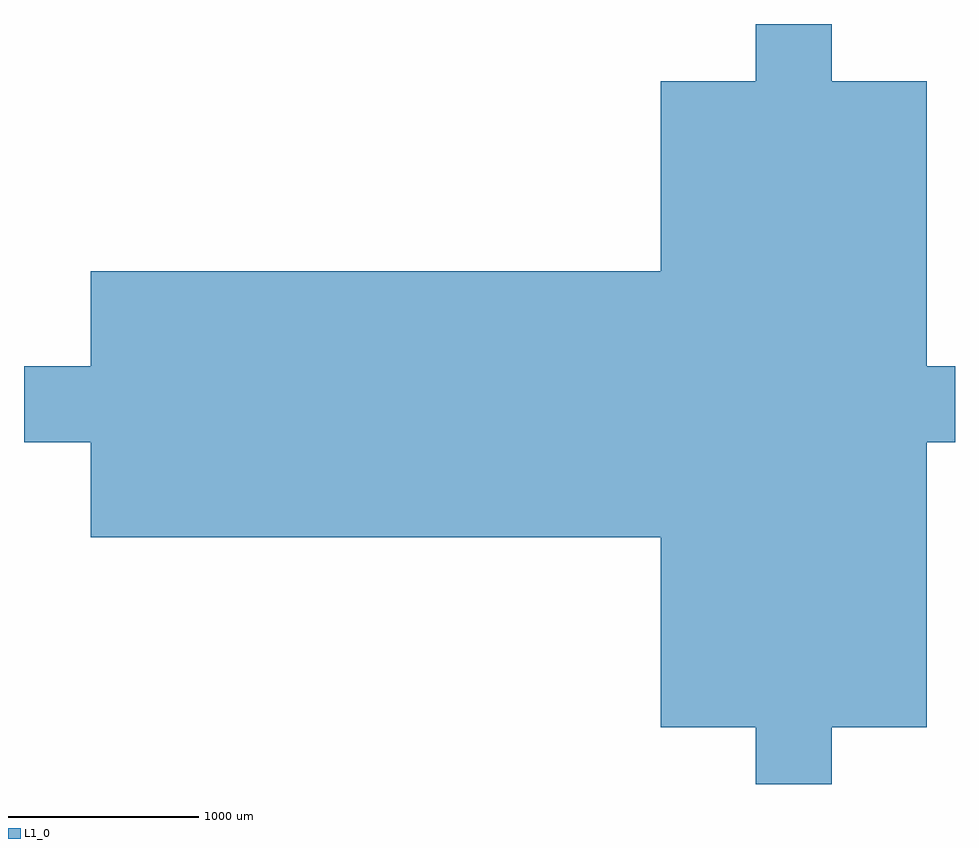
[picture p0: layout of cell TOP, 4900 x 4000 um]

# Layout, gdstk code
import gdstk
lib = gdstk.Library(unit=1e-6, precision=1e-09)
def R(c, l, rs):  # rectangles x0, y0, x1, y1
    for r in rs: c.add(gdstk.rectangle(r[:2], r[2:], *l))
def A(c, l, x, y, w, h, nx, ny, dx, dy):  # array of equal rectangles
    R(c, l, [(x+i*dx, y+j*dy, x+i*dx+w, y+j*dy+h) for i in range(nx) for j in range(ny)])
def P(c, l, *ps):  # polygons
    for p in ps: c.add(gdstk.Polygon(p, *l))
L1_0 = (1, 0)

top = lib.new_cell('TOP')
A(top, L1_0, 250, -1700, 500, 500, 1, 3, 0, 500)
A(top, L1_0, -3650, -700, 500, 500, 7, 2, 500, 900)
A(top, L1_0, 250, 200, 500, 500, 1, 3, 0, 500)
R(top, L1_0, [(100,-2000,250,2000), (-650,-1700,-150,-1200), (-650,-1200,-150,-700), (250,-200,900,200), (-650,700,-150,1200), (-650,1200,-150,1700)])
P(top, L1_0, [(0,-2000),(0,-50),(-4000,-50),(-4000,50),(0,50),(0,2000),(100,2000),(100,-2000)],
  [(-4000,50),(-4000,200),(-150,200),(-150,2000),(0,2000),(0,50)],
  [(-150,-2000),(-150,-200),(-4000,-200),(-4000,-50),(0,-50),(0,-2000)])

lib.write_gds('TOP.gds')
